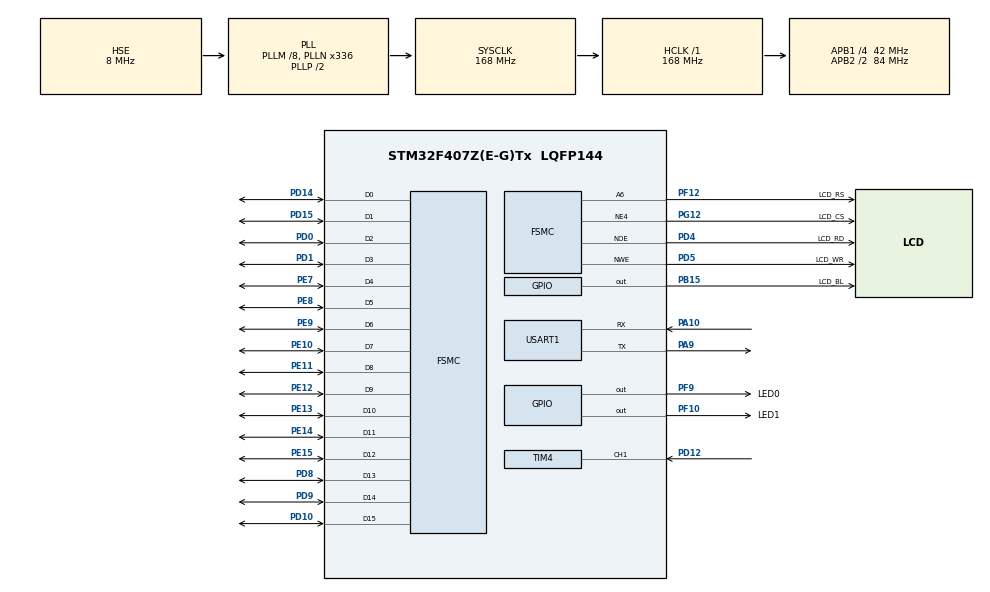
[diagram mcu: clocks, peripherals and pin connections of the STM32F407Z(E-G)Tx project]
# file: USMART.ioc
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FSMC.DataSetupTime2=60
FSMC.ExtendedAddressSetupTime2=9
FSMC.ExtendedDataSetupTime2=9
FSMC.ExtendedMode2=FSMC_EXTENDED_MODE_ENABLE
Mcu.Family=STM32F4
Mcu.Name=STM32F407Z(E-G)Tx
Mcu.Package=LQFP144
NVIC.PriorityGroup=NVIC_PRIORITYGROUP_2
NVIC.TIM4_IRQn=true\:1\:1\:true\:false\:true\:true\:true
NVIC.USART1_IRQn=true\:1\:1\:true\:false\:true\:true\:true
PA10.Mode=Asynchronous
PA10.Signal=USART1_RX
PA13.Mode=Serial_Wire
PA13.Signal=SYS_JTMS-SWDIO
PA14.Mode=Serial_Wire
PA14.Signal=SYS_JTCK-SWCLK
PA9.Mode=Asynchronous
PA9.Signal=USART1_TX
PB15.GPIO_Label=LCD_BL
PB15.GPIO_PuPd=GPIO_PULLDOWN
PB15.GPIO_Speed=GPIO_SPEED_FREQ_HIGH
PB15.PinState=GPIO_PIN_SET
PB15.Signal=GPIO_Output
PD0.Signal=FSMC_D2_DA2
PD1.Signal=FSMC_D3_DA3
PD10.Signal=FSMC_D15_DA15
PD12.Signal=S_TIM4_CH1
PD14.Signal=FSMC_D0_DA0
PD15.Signal=FSMC_D1_DA1
PD4.GPIO_Label=LCD_RD
PD4.GPIO_PuPd=GPIO_PULLUP
PD4.Signal=FSMC_NOE
PD5.GPIO_Label=LCD_WR
PD5.GPIO_PuPd=GPIO_PULLUP
PD5.Signal=FSMC_NWE
PD8.Signal=FSMC_D13_DA13
PD9.Signal=FSMC_D14_DA14
PE10.Signal=FSMC_D7_DA7
PE11.Signal=FSMC_D8_DA8
PE12.Signal=FSMC_D9_DA9
PE13.Signal=FSMC_D10_DA10
PE14.Signal=FSMC_D11_DA11
PE15.Signal=FSMC_D12_DA12
PE7.Signal=FSMC_D4_DA4
PE8.Signal=FSMC_D5_DA5
PE9.Signal=FSMC_D6_DA6
PF10.GPIO_Label=LED1
PF10.GPIO_PuPd=GPIO_PULLUP
PF10.GPIO_Speed=GPIO_SPEED_FREQ_HIGH
PF10.PinState=GPIO_PIN_SET
PF10.Signal=GPIO_Output
PF12.GPIO_Label=LCD_RS
PF12.GPIO_PuPd=GPIO_PULLUP
PF12.Signal=FSMC_A6
PF9.GPIO_Label=LED0
PF9.GPIO_PuPd=GPIO_PULLUP
PF9.GPIO_Speed=GPIO_SPEED_FREQ_HIGH
PF9.PinState=GPIO_PIN_SET
PF9.Signal=GPIO_Output
PG12.GPIO_Label=LCD_CS
PG12.GPIO_PuPd=GPIO_PULLUP
PG12.Mode=NorPsramChipSelect4_2
PG12.Signal=FSMC_NE4
PH0-OSC_IN.Mode=HSE-External-Oscillator
PH0-OSC_IN.Signal=RCC_OSC_IN
PH1-OSC_OUT.Mode=HSE-External-Oscillator
PH1-OSC_OUT.Signal=RCC_OSC_OUT
ProjectManager.HeapSize=0x200
ProjectManager.StackSize=0x400
ProjectManager.TargetToolchain=MDK-ARM V5
RCC.48MHZClocksFreq_Value=84000000
RCC.AHBFreq_Value=168000000
RCC.APB1CLKDivider=RCC_HCLK_DIV4
RCC.APB1Freq_Value=42000000
RCC.APB1TimFreq_Value=84000000
RCC.APB2CLKDivider=RCC_HCLK_DIV2
RCC.APB2Freq_Value=84000000
RCC.APB2TimFreq_Value=168000000
RCC.CortexFreq_Value=168000000
RCC.HCLKFreq_Value=168000000
RCC.HSE_VALUE=8000000
RCC.HSI_VALUE=16000000
RCC.LSE_VALUE=32768
RCC.PLLM=8
RCC.PLLN=336
RCC.PLLSourceVirtual=RCC_PLLSOURCE_HSE
RCC.SYSCLKFreq_VALUE=168000000
RCC.SYSCLKSource=RCC_SYSCLKSOURCE_PLLCLK
RCC.VCOOutputFreq_Value=336000000
SH.FSMC_A6.0=FSMC_A6,A6_2
SH.FSMC_D0_DA0.0=FSMC_D0,16b-d2
SH.FSMC_D10_DA10.0=FSMC_D10,16b-d2
SH.FSMC_D11_DA11.0=FSMC_D11,16b-d2
SH.FSMC_D12_DA12.0=FSMC_D12,16b-d2
SH.FSMC_D13_DA13.0=FSMC_D13,16b-d2
SH.FSMC_D14_DA14.0=FSMC_D14,16b-d2
SH.FSMC_D15_DA15.0=FSMC_D15,16b-d2
SH.FSMC_D1_DA1.0=FSMC_D1,16b-d2
SH.FSMC_D2_DA2.0=FSMC_D2,16b-d2
SH.FSMC_D3_DA3.0=FSMC_D3,16b-d2
SH.FSMC_D4_DA4.0=FSMC_D4,16b-d2
SH.FSMC_D5_DA5.0=FSMC_D5,16b-d2
SH.FSMC_D6_DA6.0=FSMC_D6,16b-d2
SH.FSMC_D7_DA7.0=FSMC_D7,16b-d2
SH.FSMC_D8_DA8.0=FSMC_D8,16b-d2
SH.FSMC_D9_DA9.0=FSMC_D9,16b-d2
SH.FSMC_NOE.0=FSMC_NOE,Lcd2
SH.FSMC_NWE.0=FSMC_NWE,Lcd2
SH.S_TIM4_CH1.0=TIM4_CH1,Input_Capture1_from_TI1
TIM4.Channel-Input_Capture1_from_TI1=TIM_CHANNEL_1
TIM4.ICPolarity_CH1=TIM_INPUTCHANNELPOLARITY_FALLING
TIM4.Prescaler=84-1
USART1.VirtualMode=VM_ASYNC
VP_TIM4_VS_ClockSourceINT.Mode=Internal
board=custom

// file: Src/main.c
/* USER CODE BEGIN Header */
/**
  ******************************************************************************
  * @file           : main.c
  * @brief          : Main program body
  ******************************************************************************
  * @attention
  *
  * <h2><center>&copy; Copyright (c) 2024 STMicroelectronics.
  * All rights reserved.</center></h2>
  *
  * This software component is licensed by ST under BSD 3-Clause license,
  * the "License"; You may not use this file except in compliance with the
  * License. You may obtain a copy of the License at:
  *                        opensource.org/licenses/BSD-3-Clause
  *
  ******************************************************************************
  */
/* USER CODE END Header */

#include "main.h"
#include "tim.h"
#include "usart.h"
#include "gpio.h"
#include "fsmc.h"

/* USER CODE BEGIN Includes */
#include "delay.h"
#include "lcd.h"
#include "usmart.h"
/* USER CODE END Includes */

/* USER CODE BEGIN PV */
uint8_t lcd_id[12];
uint16_t colors[12] = {WHITE, BLACK, BLUE, RED, MAGENTA, GREEN, CYAN, YELLOW, BRRED, GRAY, LGRAY, BROWN};
uint8_t color_index = 0;
uint8_t cur_brightness;
uint8_t* str[23];
/* USER CODE END PV */

void SystemClock_Config(void);

int main(void)
{

  /* MCU Configuration--------------------------------------------------------*/

  /* Reset of all peripherals, Initializes the Flash interface and the Systick. */
  HAL_Init();

  /* Configure the system clock */
  SystemClock_Config();

  /* Initialize all configured peripherals */
  MX_GPIO_Init();
  MX_FSMC_Init();
  MX_USART1_UART_Init();
  MX_TIM4_Init();
  /* USER CODE BEGIN 2 */
	delay_init(168);                        /* 延时初始化 */
	usmart_dev.init(84);                    /* USMART初始化 */
	lcd_init();                             /* 初始化LCD */
  g_point_color = RED;
  sprintf((char *)lcd_id, "LCD ID:%04X", lcddev.id);  /* 将LCD ID打印到lcd_id数组 */
	//HAL_GPIO_WritePin(LED1_GPIO_Port, LED1_Pin, GPIO_PIN_RESET);  //LED1亮
	lcd_set_backlight_by_pwm(0xFF); // 设置占空比为255，开启背光最亮
	cur_brightness = lcd_get_backlight_by_pwm(); //获取当前背光值
	sprintf((char*)str, "current brightness:%3u", cur_brightness);

	lcd_show_string(10, 40, 240, 32, 32, "STM32", RED);
	lcd_show_string(10, 80, 240, 24, 24, "TFTLCD TEST", RED);
	lcd_show_string(10, 110, 240, 16, 16, "ATOM@ALIENTEK", RED);
	lcd_show_string(10, 130, 240, 16, 16, (char *)lcd_id, RED); // 显示LCD ID
	lcd_show_string(10, 150, 240, 16, 16, (char *)str, RED); // 显示亮度

	//开启接收中断：标志位UART_IT_RXNE，并且设置接收缓冲以及接收缓冲接收最大数据量 */
	HAL_UART_Receive_IT(&huart1, (uint8_t *)g_rx_buffer, RXBUFFERSIZE);
  /* USER CODE END 2 */

  /* Infinite loop */
  /* USER CODE BEGIN WHILE */
  while (1)
  {
		/*
		lcd_clear(colors[color_index]);  //清屏

		cur_brightness = lcd_get_backlight_by_pwm(); //获取当前背光值
		sprintf((char*)str, "current brightness:%3u", cur_brightness);

		lcd_show_string(10, 40, 240, 32, 32, "STM32", RED);
		lcd_show_string(10, 80, 240, 24, 24, "TFTLCD TEST", RED);
		lcd_show_string(10, 110, 240, 16, 16, "ATOM@ALIENTEK", RED);
		lcd_show_string(10, 130, 240, 16, 16, (char *)lcd_id, RED); // 显示LCD ID
		lcd_show_string(10, 150, 240, 16, 16, (char *)str, RED); // 显示亮度
		color_index++;

		if (color_index == 12){
				color_index = 0;
		}
		*/

		HAL_GPIO_TogglePin(LED0_GPIO_Port, LED0_Pin); // LED0闪烁
		HAL_Delay(300);

    /* USER CODE END WHILE */

  }
}

void SystemClock_Config(void)
{
  RCC_OscInitTypeDef RCC_OscInitStruct = {0};
  RCC_ClkInitTypeDef RCC_ClkInitStruct = {0};

  /** Configure the main internal regulator output voltage
  */
  __HAL_RCC_PWR_CLK_ENABLE();
  __HAL_PWR_VOLTAGESCALING_CONFIG(PWR_REGULATOR_VOLTAGE_SCALE1);
  /** Initializes the CPU, AHB and APB busses clocks
  */
  RCC_OscInitStruct.OscillatorType = RCC_OSCILLATORTYPE_HSE;
  RCC_OscInitStruct.HSEState = RCC_HSE_ON;
  RCC_OscInitStruct.PLL.PLLState = RCC_PLL_ON;
  RCC_OscInitStruct.PLL.PLLSource = RCC_PLLSOURCE_HSE;
  RCC_OscInitStruct.PLL.PLLM = 8;
  RCC_OscInitStruct.PLL.PLLN = 336;
  RCC_OscInitStruct.PLL.PLLP = RCC_PLLP_DIV2;
  RCC_OscInitStruct.PLL.PLLQ = 4;
  if (HAL_RCC_OscConfig(&RCC_OscInitStruct) != HAL_OK)
  {
    Error_Handler();
  }
  /** Initializes the CPU, AHB and APB busses clocks
  */
  RCC_ClkInitStruct.ClockType = RCC_CLOCKTYPE_HCLK|RCC_CLOCKTYPE_SYSCLK
                              |RCC_CLOCKTYPE_PCLK1|RCC_CLOCKTYPE_PCLK2;
  RCC_ClkInitStruct.SYSCLKSource = RCC_SYSCLKSOURCE_PLLCLK;
  RCC_ClkInitStruct.AHBCLKDivider = RCC_SYSCLK_DIV1;
  RCC_ClkInitStruct.APB1CLKDivider = RCC_HCLK_DIV4;
  RCC_ClkInitStruct.APB2CLKDivider = RCC_HCLK_DIV2;

  if (HAL_RCC_ClockConfig(&RCC_ClkInitStruct, FLASH_LATENCY_5) != HAL_OK)
  {
    Error_Handler();
  }
}

/* USER CODE BEGIN 4 */
/* LED状态设置函数 */
void led_set(uint8_t sta)
{
	sta ? \
                      HAL_GPIO_WritePin(LED1_GPIO_Port, LED1_Pin, GPIO_PIN_SET) : \
                      HAL_GPIO_WritePin(LED1_GPIO_Port, LED1_Pin, GPIO_PIN_RESET);
}

/* 函数参数调用测试函数 */
void test_fun(void(*ledset)(uint8_t), uint8_t sta)
{
    ledset(sta);
}
/* USER CODE END 4 */

void Error_Handler(void)
{
}

/************************ (C) COPYRIGHT STMicroelectronics *****END OF FILE****/
